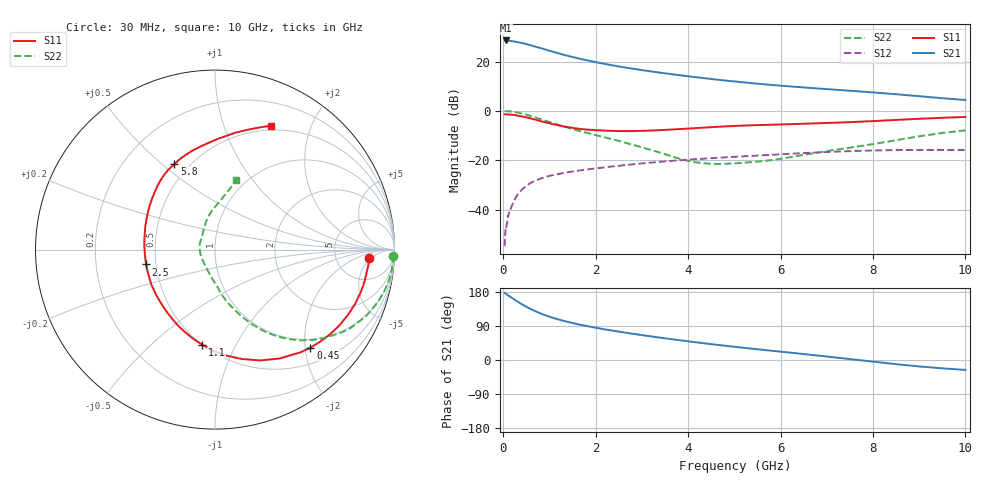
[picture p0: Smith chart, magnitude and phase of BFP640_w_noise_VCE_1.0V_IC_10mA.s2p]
! Infineon Technologies  Discrete & RF Semiconductors
! BFP640
! VCE =  1.0 V,  IC =  10 mA
! Common Emitter S-Parameters:  Apr 2013
# GHz  S  MA  R  50
!  f  S11  S21  S12  S22
! GHz  MAG  ANG  MAG  ANG  MAG  ANG  MAG  ANG
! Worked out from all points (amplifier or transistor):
!   99 points, 30 MHz to 10 GHz, reference 50 ohm
!   highest |S21| = 28.7 dB at 50 MHz (marker M1)
!   |S21| within 3 dB of that: start of sweep to 790.5 MHz
!   unconditionally stable (mu >= 1): 3.953 GHz to end of sweep
!   at 350 MHz: K = 0.15, MSG = 30.4 dB, |S12| = -33.0 dB
!   at 3.5 GHz: K = 0.97, MSG = 17.9 dB, |S12| = -20.5 dB
!   at 10 GHz: K = 1.10, MAG = 8.2 dB, |S12| = -15.8 dB
!   lowest NFmin = 0.64 dB at 450 MHz
!   S11 on the Smith chart (normalised r, x): 30 MHz: 12, -4; 450 MHz: 0.81, -2.11; 1.1 GHz: 0.50, -0.74; 2.5 GHz: 0.44, -0.09; 5.8 GHz: 0.42, +0.55; 10 GHz: 0.45, +1.46
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0.03  0.8595 -3.2  26.92 177.1  0.0018 85.9  0.9929 -1.9
0.05  0.8593 -5.2  27.12 175.6  0.0041 108.1  0.9937 -3.4
0.14  0.8469 -14.9  26.71 167.8  0.0097 84.9  0.9838 -9.9
0.25  0.8252 -26.2  25.75 158.8  0.0162 76.8  0.9545 -17.6
0.35  0.7963 -36.3  24.68 151.1  0.0223 72.4  0.9165 -24.2
0.45  0.762 -45.8  23.51 143.9  0.0276 68.1  0.8705 -30.3
0.6  0.7045 -59.5  21.59 134.3  0.0349 62.2  0.7905 -38.3
0.7  0.6667 -67.9  20.26 128.6  0.0387 58.9  0.7405 -42.9
0.8  0.6272 -76.3  19.09 123.2  0.0422 56.0  0.6886 -47.2
0.9  0.5945 -83.7  17.9 118.5  0.0454 53.3  0.6409 -50.9
1.1  0.5345 -97.7  15.77 110.3  0.0505 49.7  0.5569 -57.0
1.4  0.4717 -115.7  13.19 100.5  0.0571 45.5  0.4592 -64.0
1.7  0.4296 -132.2  11.31 92.3  0.0629 42.5  0.3835 -69.4
2.1  0.4047 -151.2  9.427 83.0  0.0701 39.5  0.3067 -76.3
2.5  0.3926 -167.8  8.051 74.9  0.0771 37.0  0.2472 -81.9
3.4  0.4098 161.4  6.003 58.9  0.0932 30.9  0.1423 -101.7
4.2  0.4525 140.6  4.827 46.3  0.1059 24.9  0.0898 -141.2
5.1  0.5018 124.6  3.906 33.6  0.119 18.4  0.0878 166.8
5.8  0.5272 115.5  3.392 24.5  0.1288 13.5  0.1007 137.7
6.7  0.5596 104.7  2.922 13.0  0.1428 6.2  0.138 115.3
8.5  0.6599 80.3  2.193 -11.0  0.1612 -10.7  0.2548 86.9
10  0.7577 65.6  1.674 -26.2  0.1616 -21.5  0.4036 73.3
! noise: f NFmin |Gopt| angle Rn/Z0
0.45  0.64  0.26  10  0.04
0.9  0.66  0.25  17  0.05
1.5  0.67  0.22  29  0.06
1.9  0.7  0.18  48  0.07
2.4  0.74  0.16  59  0.07
3.5  0.87  0.13  71  0.09
5.5  1.09  0.21  -128  0.1
10  1.66  0.58  -60  0.4
